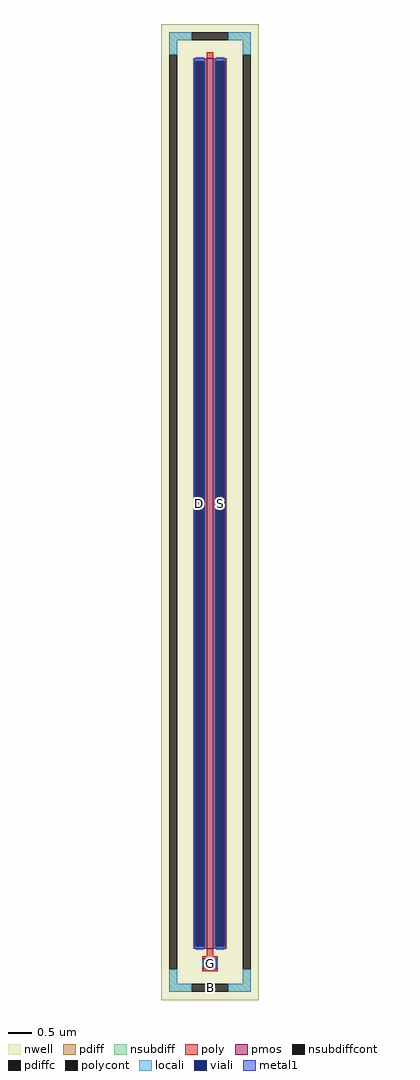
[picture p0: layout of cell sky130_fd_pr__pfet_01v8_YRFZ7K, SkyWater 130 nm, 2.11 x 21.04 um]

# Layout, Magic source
magic
tech sky130A
magscale 1 2
<< nwell >>
rect -211 -2104 211 2104
<< pmos >>
rect -15 -1884 15 1956
<< pdiff >>
rect -73 1944 -15 1956
rect -73 -1872 -61 1944
rect -27 -1872 -15 1944
rect -73 -1884 -15 -1872
rect 15 1944 73 1956
rect 15 -1872 27 1944
rect 61 -1872 73 1944
rect 15 -1884 73 -1872
<< pdiffc >>
rect -61 -1872 -27 1944
rect 27 -1872 61 1944
<< nsubdiff >>
rect -175 2034 -79 2068
rect 79 2034 175 2068
rect -175 1971 -141 2034
rect 141 1971 175 2034
rect -175 -2034 -141 -1971
rect 141 -2034 175 -1971
rect -175 -2068 -79 -2034
rect 79 -2068 175 -2034
<< nsubdiffcont >>
rect -79 2034 79 2068
rect -175 -1971 -141 1971
rect 141 -1971 175 1971
rect -79 -2068 79 -2034
<< poly >>
rect -15 1956 15 1982
rect -15 -1915 15 -1884
rect -33 -1931 33 -1915
rect -33 -1965 -17 -1931
rect 17 -1965 33 -1931
rect -33 -1981 33 -1965
<< polycont >>
rect -17 -1965 17 -1931
<< locali >>
rect -175 2034 -79 2068
rect 79 2034 175 2068
rect -175 1971 -141 2034
rect 141 1971 175 2034
rect -61 1944 -27 1960
rect -61 -1888 -27 -1872
rect 27 1944 61 1960
rect 27 -1888 61 -1872
rect -33 -1965 -17 -1931
rect 17 -1965 33 -1931
rect -175 -2034 -141 -1971
rect 141 -2034 175 -1971
rect -175 -2068 -79 -2034
rect 79 -2068 175 -2034
<< viali >>
rect -61 -1872 -27 1944
rect 27 -1872 61 1944
rect -17 -1965 17 -1931
<< metal1 >>
rect -67 1944 -21 1956
rect -67 -1872 -61 1944
rect -27 -1872 -21 1944
rect -67 -1884 -21 -1872
rect 21 1944 67 1956
rect 21 -1872 27 1944
rect 61 -1872 67 1944
rect 21 -1884 67 -1872
rect -29 -1931 29 -1925
rect -29 -1965 -17 -1931
rect 17 -1965 29 -1931
rect -29 -1971 29 -1965
<< labels >>
rlabel nsubdiffcont 0 -2051 0 -2051 0 B
port 1 nsew
rlabel pdiffc -44 36 -44 36 0 D
port 2 nsew
rlabel pdiffc 44 36 44 36 0 S
port 3 nsew
rlabel polycont 0 -1948 0 -1948 0 G
port 4 nsew
<< properties >>
string FIXED_BBOX -158 -2051 158 2051
string gencell sky130_fd_pr__pfet_01v8
string library sky130
string parameters w 19.2 l 0.15 m 1 nf 1 diffcov 100 polycov 100 guard 1 glc 1 grc 1 gtc 1 gbc 1 tbcov 100 rlcov 100 topc 0 botc 1 poverlap 0 doverlap 1 lmin 0.15 wmin 0.42 class mosfet compatible {sky130_fd_pr__pfet_01v8  sky130_fd_pr__pfet_01v8_lvt sky130_fd_pr__pfet_01v8_hvt  sky130_fd_pr__pfet_g5v0d10v5} full_metal 1 viasrc 100 viadrn 100 viagate 100 viagb 0 viagr 0 viagl 0 viagt 0 doports 1
<< end >>
